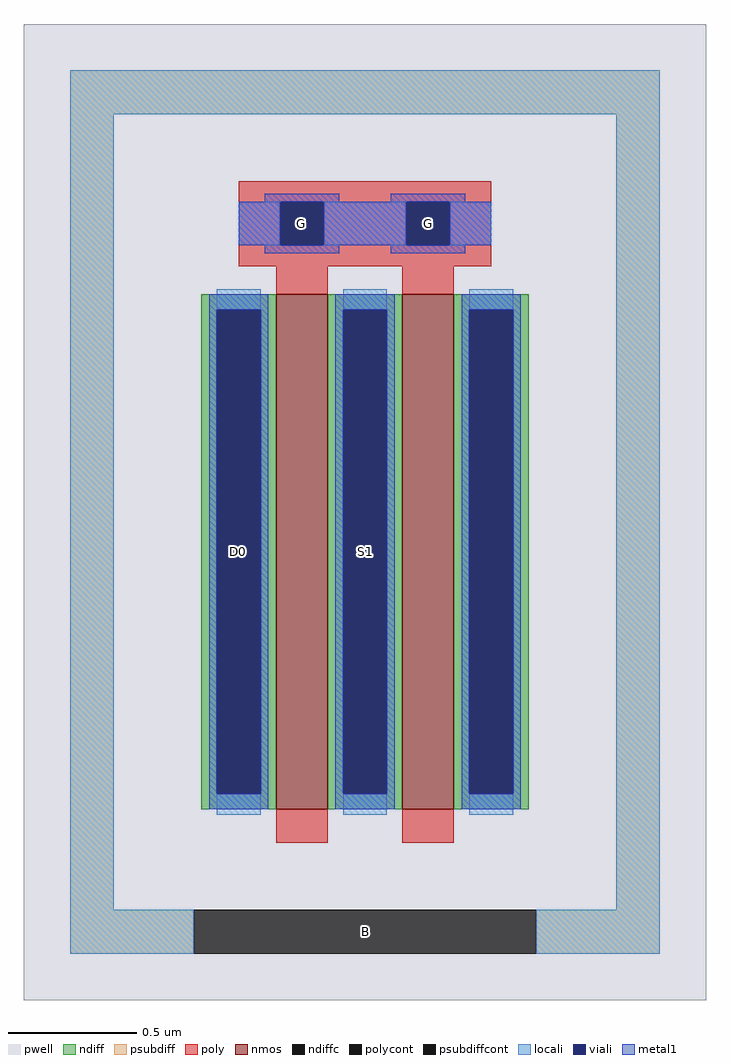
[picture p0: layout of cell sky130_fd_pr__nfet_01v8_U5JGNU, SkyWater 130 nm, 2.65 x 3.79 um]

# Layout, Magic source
magic
tech sky130A
magscale 1 2
<< pwell >>
rect -265 -379 265 379
<< nmos >>
rect -69 -231 -29 169
rect 29 -231 69 169
<< ndiff >>
rect -127 157 -69 169
rect -127 -219 -115 157
rect -81 -219 -69 157
rect -127 -231 -69 -219
rect -29 157 29 169
rect -29 -219 -17 157
rect 17 -219 29 157
rect -29 -231 29 -219
rect 69 157 127 169
rect 69 -219 81 157
rect 115 -219 127 157
rect 69 -231 127 -219
<< ndiffc >>
rect -115 -219 -81 157
rect -17 -219 17 157
rect 81 -219 115 157
<< psubdiff >>
rect -229 309 229 343
rect -229 -309 -195 309
rect 195 -309 229 309
rect -229 -343 -133 -309
rect 133 -343 229 -309
<< psubdiffcont >>
rect -133 -343 133 -309
<< poly >>
rect -98 241 98 257
rect -98 207 -66 241
rect -32 207 32 241
rect 66 207 98 241
rect -98 191 98 207
rect -69 169 -29 191
rect 29 169 69 191
rect -69 -257 -29 -231
rect 29 -257 69 -231
<< polycont >>
rect -66 207 -32 241
rect 32 207 66 241
<< locali >>
rect -229 309 229 343
rect -229 -309 -195 309
rect -98 207 -66 241
rect -32 207 32 241
rect 66 207 98 241
rect -115 157 -81 173
rect -115 -235 -81 -219
rect -17 157 17 173
rect -17 -235 17 -219
rect 81 157 115 173
rect 81 -235 115 -219
rect 195 -309 229 309
rect -229 -343 -133 -309
rect 133 -343 229 -309
<< viali >>
rect -66 207 -32 241
rect 32 207 66 241
rect -115 -219 -81 157
rect -17 -219 17 157
rect 81 -219 115 157
<< metal1 >>
rect -78 241 -20 247
rect 20 241 78 247
rect -98 207 -66 241
rect -32 207 32 241
rect 66 207 98 241
rect -78 201 -20 207
rect 20 201 78 207
rect -121 157 -75 169
rect -121 -219 -115 157
rect -81 -219 -75 157
rect -121 -231 -75 -219
rect -23 157 23 169
rect -23 -219 -17 157
rect 17 -219 23 157
rect -23 -231 23 -219
rect 75 157 121 169
rect 75 -219 81 157
rect 115 -219 121 157
rect 75 -231 121 -219
<< labels >>
rlabel psubdiffcont 0 -326 0 -326 0 B
port 1 nsew
rlabel ndiffc -98 -31 -98 -31 0 D0
port 2 nsew
rlabel polycont -49 224 -49 224 0 G
port 3 nsew
rlabel ndiffc 0 -31 0 -31 0 S1
port 4 nsew
rlabel polycont 49 224 49 224 0 G
port 3 nsew
<< properties >>
string FIXED_BBOX -212 -326 212 326
string gencell sky130_fd_pr__nfet_01v8
string library sky130
string parameters w 2 l 0.2 m 1 nf 2 diffcov 100 polycov 100 guard 1 glc 0 grc 0 gtc 0 gbc 1 tbcov 100 rlcov 100 topc 1 botc 0 poverlap 0 doverlap 1 lmin 0.15 wmin 0.42 class mosfet compatible {sky130_fd_pr__nfet_01v8 sky130_fd_pr__nfet_01v8_lvt  sky130_fd_bs_flash__special_sonosfet_star  sky130_fd_pr__nfet_g5v0d10v5 sky130_fd_pr__nfet_05v0_nvt  sky130_fd_pr__nfet_03v3_nvt} full_metal 1 conn_gates 1 viasrc 100 viadrn 100 viagate 100 viagb 0 viagr 0 viagl 0 viagt 0 doports 1
<< end >>
